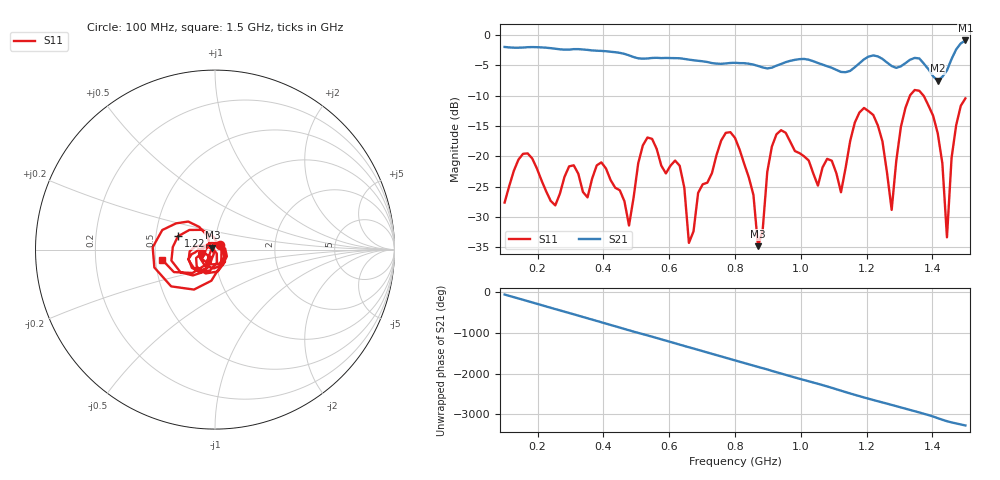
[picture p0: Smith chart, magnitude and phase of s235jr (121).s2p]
! NanoVNA-App
! Date: 2025-09-26 09:45:44
! Start: 100MHz Stop: 1,5GHz Points: 101
! S-Parameter data: F S11 S21 S12 S22
# Hz S RI R 50
!  Frequency  S11_Real  S11_Imag  S21_Real  S21_Imag  S12_Real  S12_Imag  S22_Real  S22_Imag
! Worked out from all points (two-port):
!   101 points, 100 MHz to 1.5 GHz, reference 50 ohm
!   highest |S21| = -0.88 dB at 1.5 GHz (marker M1); lowest = -7.5 dB at 1.416 GHz (marker M2)
!   |S21| within 3 dB of the highest: start of sweep to 517.5 MHz; 523.9 MHz to 639.9 MHz (116 MHz wide, 19.9 % of centre) (the widest 2 of 5)
!   lowest |S11| = -34.8 dB at 870 MHz (marker M3), VSWR 1.04, Z = 48.5 + j0.997 ohm
!   |S11| at or under -10 dB: start of sweep to 1.332 GHz; 1.373 GHz to end of sweep
!   S12 and S22 are empty: the file has one direction only
!   S11 on the Smith chart (normalised r, x): 100 MHz: 1.06, +0.06; 1.22 GHz: 0.65, +0.10; 1.5 GHz: 0.54, -0.07
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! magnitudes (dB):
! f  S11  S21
! 100 MHz  -27.6  -2.0
! 156 MHz  -19.6  -2.0
! 338 MHz  -25.9  -2.4
! 394 MHz  -21.0  -2.6
! 478 MHz  -31.4  -3.3
! 520 MHz  -18.2  -3.9
! 576 MHz  -21.5  -3.8
! 632 MHz  -21.6  -3.8
! 660 MHz  -34.3  -4.0
! 800 MHz  -17.0  -4.6
! 870 MHz  -34.8  -5.1
! 926 MHz  -16.4  -5.0
! 1.038 GHz  -22.9  -4.3
! 1.122 GHz  -25.9  -6.1
! 1.164 GHz  -14.4  -5.3
! 1.22 GHz  -13.2  -3.4
! 1.276 GHz  -28.9  -5.1
! 1.332 GHz  -9.9  -4.1
! 1.416 GHz  -16.2  -7.5
! 1.444 GHz  -33.4  -5.8
! 1.458 GHz  -20.3  -3.9
! 1.5 GHz  -10.4  -0.9
